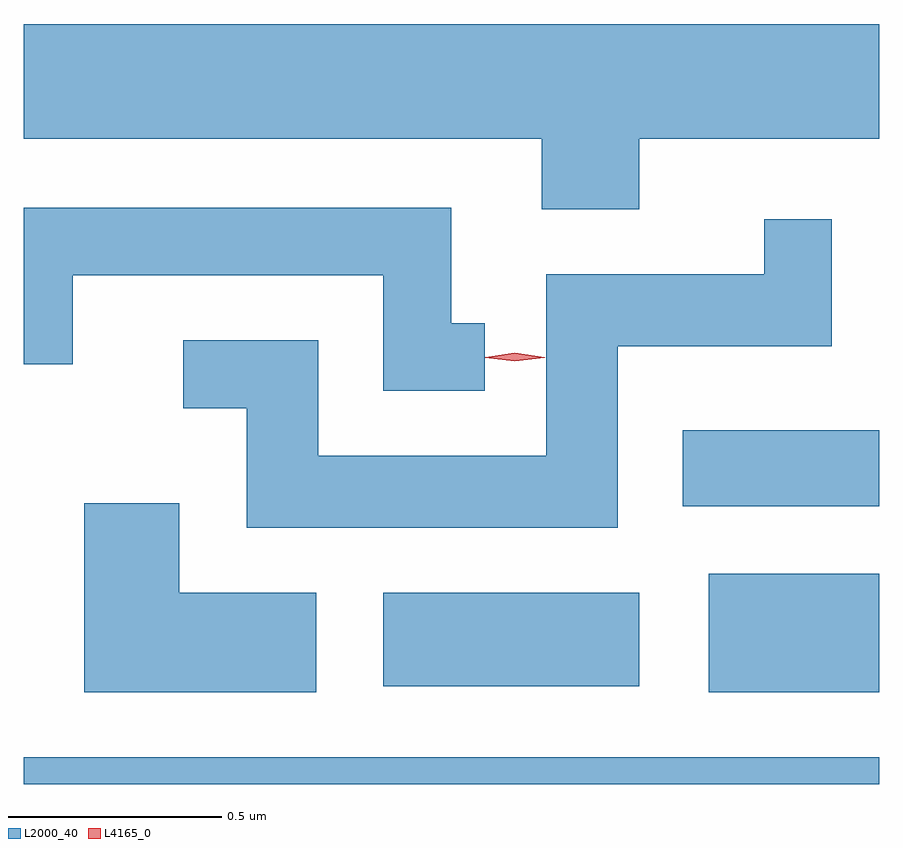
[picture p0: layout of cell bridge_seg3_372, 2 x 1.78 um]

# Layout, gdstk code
import gdstk
lib = gdstk.Library(unit=1e-6, precision=1e-09)
def R(c, l, rs):  # rectangles x0, y0, x1, y1
    for r in rs: c.add(gdstk.rectangle(r[:2], r[2:], *l))
def P(c, l, *ps):  # polygons
    for p in ps: c.add(gdstk.Polygon(p, *l))
L2000_40 = (2000, 40)
L4165_0 = (4165, 0)

bridge_seg3_372 = lib.new_cell('bridge_seg3_372')
R(bridge_seg3_372, L2000_40, [(682.52,1193.327,684.52,1193.389), (684.121,1193.541,684.52,1193.819), (683.361,1193.556,683.959,1193.774), (684.061,1193.976,684.52,1194.154)])
P(bridge_seg3_372, L2000_40, [(683.959,1194.836),(684.52,1194.836),(684.52,1195.104),(682.52,1195.104),(682.52,1194.836),(683.731,1194.836),(683.731,1194.671),(683.959,1194.671)],
  [(683.598,1194.404),(683.519,1194.404),(683.519,1194.674),(682.52,1194.674),(682.52,1194.308),(682.634,1194.308),(682.634,1194.516),(683.361,1194.516),(683.361,1194.246),(683.598,1194.246)],
  [(683.909,1194.351),(684.409,1194.351),(684.409,1194.648),(684.251,1194.648),(684.251,1194.519),(683.741,1194.519),(683.741,1194.094),(683.209,1194.094),(683.209,1194.364),(682.893,1194.364),(682.893,1194.206),(683.041,1194.206),(683.041,1193.926),(683.909,1193.926)],
  [(683.204,1193.774),(682.884,1193.774),(682.884,1193.984),(682.661,1193.984),(682.661,1193.541),(683.204,1193.541)])
P(bridge_seg3_372, L4165_0, [(683.668,1194.315),(683.599,1194.324),(683.599,1194.325),(683.599,1194.325),(683.668,1194.335),(683.738,1194.325),(683.738,1194.325),(683.738,1194.324)])

lib.write_gds('bridge_seg3_372.gds')
